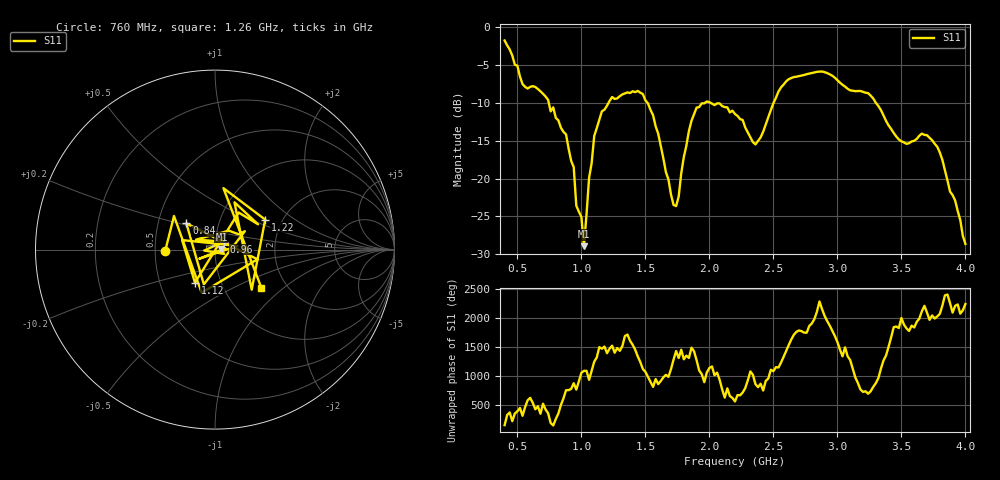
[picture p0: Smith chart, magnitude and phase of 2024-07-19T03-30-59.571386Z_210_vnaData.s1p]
!Created with skrf (http://scikit-rf.org).
# Hz S RI R 50.0
!freq ReS11 ImS11
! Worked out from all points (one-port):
!   181 points, 400 MHz to 4 GHz, reference 50 ohm
!   lowest |S11| = -28.9 dB at 1.02 GHz (marker M1), VSWR 1.07, Z = 53.7 + j0.388 ohm
!   |S11| at or under -10 dB: 745.2 MHz to 1.212 GHz (466.6 MHz wide, 47.7 % of centre); 2.01 GHz to 2.501 GHz (490.5 MHz wide, 21.7 % of centre); 3.301 GHz to end of sweep (the widest 3 of 4)
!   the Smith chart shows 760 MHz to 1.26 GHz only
!   S11 on the Smith chart (normalised r, x): 760 MHz: 0.57, -0.01; 840 MHz: 0.70, +0.21; 960 MHz: 1.10, +0.10; 1.12 GHz: 0.75, -0.29; 1.22 GHz: 1.63, +0.61; 1.26 GHz: 1.49, -0.72
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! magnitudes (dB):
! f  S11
! 400 MHz  -1.8
! 540 MHz  -7.5
! 760 MHz  -11.1
! 840 MHz  -13.3
! 860 MHz  -13.8
! 940 MHz  -18.5
! 960 MHz  -23.6
! 1 GHz  -25.1
! 1.02 GHz  -28.9
! 1.06 GHz  -19.9
! 1.12 GHz  -13.3
! 1.22 GHz  -9.7
! 1.26 GHz  -9.5
! 1.3 GHz  -9.1
! 1.48 GHz  -8.8
! 1.6 GHz  -14.1
! 1.72 GHz  -23.5
! 1.76 GHz  -22.4
! 1.84 GHz  -13.7
! 1.9 GHz  -10.6
! 2.2 GHz  -11.5
! 2.36 GHz  -15.5
! 2.66 GHz  -6.6
! 3.1 GHz  -8.3
! 3.24 GHz  -8.7
! 3.56 GHz  -15.3
! 3.78 GHz  -15.8
! 4 GHz  -28.6
